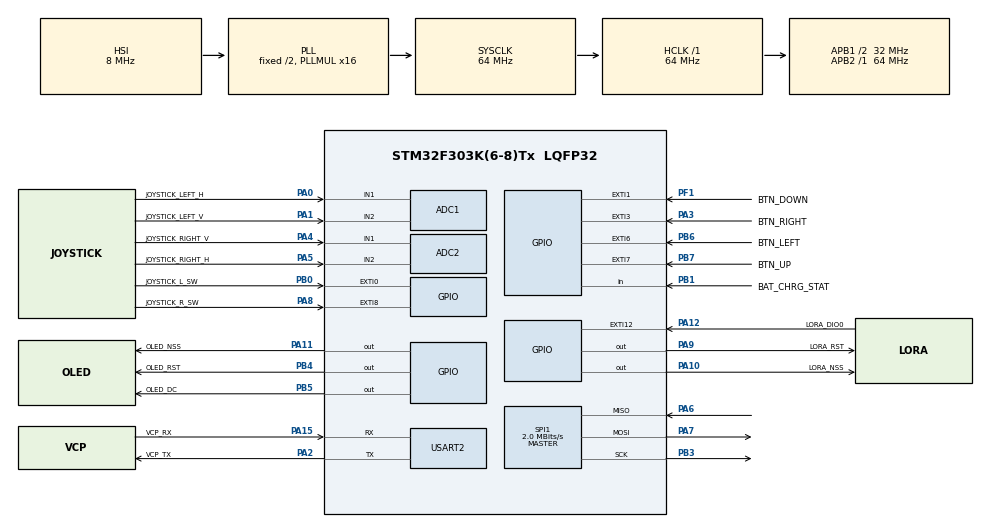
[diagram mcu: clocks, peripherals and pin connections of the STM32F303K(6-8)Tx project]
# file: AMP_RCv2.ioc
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ADC1.Channel-1\#ChannelRegularConversion=ADC_CHANNEL_1
ADC1.NbrOfConversionFlag=1
ADC1.Offset-1\#ChannelRegularConversion=0
ADC1.OffsetNumber-1\#ChannelRegularConversion=ADC_OFFSET_NONE
ADC1.Rank-1\#ChannelRegularConversion=1
ADC1.SamplingTime-1\#ChannelRegularConversion=ADC_SAMPLETIME_1CYCLE_5
ADC1.SubFamily=STM32F303x8
ADC1.master=1
ADC2.Channel-1\#ChannelRegularConversion=ADC_CHANNEL_2
ADC2.NbrOfConversionFlag=1
ADC2.Offset-1\#ChannelRegularConversion=0
ADC2.OffsetNumber-1\#ChannelRegularConversion=ADC_OFFSET_NONE
ADC2.Rank-1\#ChannelRegularConversion=1
ADC2.SamplingTime-1\#ChannelRegularConversion=ADC_SAMPLETIME_1CYCLE_5
ADC2.SubFamily=STM32F303x8
Mcu.Family=STM32F3
Mcu.Name=STM32F303K(6-8)Tx
Mcu.Package=LQFP32
NVIC.EXTI0_IRQn=true\:0\:0\:false\:false\:true\:true\:true\:true
NVIC.EXTI15_10_IRQn=true\:0\:0\:false\:false\:true\:true\:true\:true
NVIC.EXTI1_IRQn=true\:0\:0\:false\:false\:true\:true\:true\:true
NVIC.EXTI3_IRQn=true\:0\:0\:false\:false\:true\:true\:true\:true
NVIC.EXTI9_5_IRQn=true\:0\:0\:false\:true\:true\:1\:true\:true\:true
NVIC.PriorityGroup=NVIC_PRIORITYGROUP_4
NVIC.TIM1_BRK_TIM15_IRQn=true\:0\:0\:false\:false\:true\:true\:true\:true
PA0.GPIO_Label=JOYSTICK_LEFT_H
PA0.Mode=IN1-Single-Ended
PA0.Signal=ADC1_IN1
PA1.GPIO_Label=JOYSTICK_LEFT_V
PA1.Mode=IN2-Single-Ended
PA1.Signal=ADC1_IN2
PA10.GPIO_Label=LORA_NSS
PA10.Signal=GPIO_Output
PA11.GPIO_Label=OLED_NSS
PA11.Signal=GPIO_Output
PA12.GPIO_Label=LORA_DIO0
PA12.Signal=GPXTI12
PA13.GPIO_Label=SWDIO
PA13.Mode=Serial_Wire
PA13.Signal=SYS_JTMS-SWDIO
PA14.GPIO_Label=SWCLK
PA14.Mode=Serial_Wire
PA14.Signal=SYS_JTCK-SWCLK
PA15.GPIO_Label=VCP_RX
PA15.Mode=Asynchronous
PA15.Signal=USART2_RX
PA2.GPIO_Label=VCP_TX
PA2.Mode=Asynchronous
PA2.Signal=USART2_TX
PA3.GPIO_Label=BTN_RIGHT
PA3.GPIO_ModeDefaultEXTI=GPIO_MODE_IT_FALLING
PA3.GPIO_PuPd=GPIO_PULLUP
PA3.Signal=GPXTI3
PA4.GPIO_Label=JOYSTICK_RIGHT_V
PA4.Mode=IN1-Single-Ended
PA4.Signal=ADC2_IN1
PA5.GPIO_Label=JOYSTICK_RIGHT_H
PA5.Mode=IN2-Single-Ended
PA5.Signal=ADC2_IN2
PA6.Mode=Full_Duplex_Master
PA6.Signal=SPI1_MISO
PA7.Mode=Full_Duplex_Master
PA7.Signal=SPI1_MOSI
PA8.GPIO_Label=JOYSTICK_R_SW
PA8.Signal=GPXTI8
PA9.GPIO_Label=LORA_RST
PA9.Signal=GPIO_Output
PB0.GPIO_Label=JOYSTICK_L_SW
PB0.GPIO_ModeDefaultEXTI=GPIO_MODE_IT_RISING
PB0.Signal=GPXTI0
PB1.GPIO_Label=BAT_CHRG_STAT
PB1.Signal=GPIO_Input
PB3.Mode=Full_Duplex_Master
PB3.Signal=SPI1_SCK
PB4.GPIO_Label=OLED_RST
PB4.Signal=GPIO_Output
PB5.GPIO_Label=OLED_DC
PB5.Signal=GPIO_Output
PB6.GPIO_Label=BTN_LEFT
PB6.GPIO_ModeDefaultEXTI=GPIO_MODE_IT_FALLING
PB6.GPIO_PuPd=GPIO_PULLUP
PB6.Signal=GPXTI6
PB7.GPIO_Label=BTN_UP
PB7.GPIO_ModeDefaultEXTI=GPIO_MODE_IT_FALLING
PB7.GPIO_PuPd=GPIO_PULLUP
PB7.Signal=GPXTI7
PF0\ /\ OSC_IN.GPIO_Label=MCO
PF0\ /\ OSC_IN.Mode=HSE-External-Clock-Source
PF0\ /\ OSC_IN.Signal=RCC_OSC_IN
PF1\ /\ OSC_OUT.GPIO_Label=BTN_DOWN
PF1\ /\ OSC_OUT.GPIO_ModeDefaultEXTI=GPIO_MODE_IT_FALLING
PF1\ /\ OSC_OUT.GPIO_PuPd=GPIO_PULLUP
PF1\ /\ OSC_OUT.Signal=GPXTI1
ProjectManager.HeapSize=0x200
ProjectManager.StackSize=0x400
ProjectManager.TargetToolchain=STM32CubeIDE
RCC.AHBFreq_Value=64000000
RCC.APB1CLKDivider=RCC_HCLK_DIV2
RCC.APB1Freq_Value=32000000
RCC.APB1TimFreq_Value=64000000
RCC.APB2Freq_Value=64000000
RCC.APB2TimFreq_Value=64000000
RCC.CortexFreq_Value=64000000
RCC.HCLKFreq_Value=64000000
RCC.HSE_VALUE=8000000
RCC.HSI_VALUE=8000000
RCC.PLLMUL=RCC_PLL_MUL16
RCC.SYSCLKFreq_VALUE=64000000
RCC.SYSCLKSourceVirtual=RCC_SYSCLKSOURCE_PLLCLK
SPI1.BaudRatePrescaler=SPI_BAUDRATEPRESCALER_32
SPI1.CalculateBaudRate=2.0 MBits/s
SPI1.DataSize=SPI_DATASIZE_8BIT
SPI1.Direction=SPI_DIRECTION_2LINES
SPI1.Mode=SPI_MODE_MASTER
SPI1.NSSPMode=SPI_NSS_PULSE_DISABLE
SPI1.VirtualType=VM_MASTER
TIM1.AutoReloadPreload=TIM_AUTORELOAD_PRELOAD_ENABLE
TIM1.Period=999
TIM1.Prescaler=6399
USART2.VirtualMode-Asynchronous=VM_ASYNC
VP_TIM1_VS_ClockSourceINT.Mode=Internal
board=NUCLEO-F303K8

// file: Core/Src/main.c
/* USER CODE BEGIN Header */
/**
  ******************************************************************************
  * @file           : main.c
  * @brief          : Main program body
  ******************************************************************************
  * @attention
  *
  * Copyright (c) 2024 STMicroelectronics.
  * All rights reserved.
  *
  * This software is licensed under terms that can be found in the LICENSE file
  * in the root directory of this software component.
  * If no LICENSE file comes with this software, it is provided AS-IS.
  *
  ******************************************************************************
  */
/* USER CODE END Header */
#include "main.h"
#include "adc.h"
#include "spi.h"
#include "tim.h"
#include "usart.h"
#include "gpio.h"

/* USER CODE BEGIN Includes */
#include "app_statemachine.h"
/* USER CODE END Includes */

/* USER CODE BEGIN PTD */
#define BUTTON_SLOW_PIN BTN_LEFT_Pin // PB7
#define BUTTON_EBRAKE_PIN BTN_RIGHT_Pin // PA3
#define BUTTON_FAST_PIN BTN_UP_Pin //PF1
/* USER CODE END PTD */

/* USER CODE BEGIN PV */
uint32_t joystick_x;
uint32_t joystick_y;
/* USER CODE END PV */

void SystemClock_Config(void);
static void MX_NVIC_Init(void);

int main(void)
{

  /* MCU Configuration--------------------------------------------------------*/

  /* Reset of all peripherals, Initializes the Flash interface and the Systick. */
  HAL_Init();

  /* Configure the system clock */
  SystemClock_Config();

  /* Initialize all configured peripherals */
  MX_GPIO_Init();
  MX_SPI1_Init();
  MX_ADC1_Init();
  MX_ADC2_Init();
  MX_TIM1_Init();
  MX_USART2_UART_Init();

  /* Initialize interrupts */
  MX_NVIC_Init();
  /* USER CODE BEGIN 2 */
  // disable timer interrupt for tick() to make sure init() function completes
  HAL_TIM_Base_Stop_IT(&htim1);
  // call init() function for state machine
  App_StateMachine_Init();
  // re-enable timer interrupt for tick()
  HAL_TIM_Base_Start_IT(&htim1);

  /* USER CODE END 2 */

  /* Infinite loop */
  while (1)
  {

  }
}

void SystemClock_Config(void)
{
  RCC_OscInitTypeDef RCC_OscInitStruct = {0};
  RCC_ClkInitTypeDef RCC_ClkInitStruct = {0};
  RCC_PeriphCLKInitTypeDef PeriphClkInit = {0};

  /** Initializes the RCC Oscillators according to the specified parameters
  * in the RCC_OscInitTypeDef structure.
  */
  RCC_OscInitStruct.OscillatorType = RCC_OSCILLATORTYPE_HSI;
  RCC_OscInitStruct.HSIState = RCC_HSI_ON;
  RCC_OscInitStruct.HSICalibrationValue = RCC_HSICALIBRATION_DEFAULT;
  RCC_OscInitStruct.PLL.PLLState = RCC_PLL_ON;
  RCC_OscInitStruct.PLL.PLLSource = RCC_PLLSOURCE_HSI;
  RCC_OscInitStruct.PLL.PLLMUL = RCC_PLL_MUL16;
  if (HAL_RCC_OscConfig(&RCC_OscInitStruct) != HAL_OK)
  {
    Error_Handler();
  }

  /** Initializes the CPU, AHB and APB buses clocks
  */
  RCC_ClkInitStruct.ClockType = RCC_CLOCKTYPE_HCLK|RCC_CLOCKTYPE_SYSCLK
                              |RCC_CLOCKTYPE_PCLK1|RCC_CLOCKTYPE_PCLK2;
  RCC_ClkInitStruct.SYSCLKSource = RCC_SYSCLKSOURCE_PLLCLK;
  RCC_ClkInitStruct.AHBCLKDivider = RCC_SYSCLK_DIV1;
  RCC_ClkInitStruct.APB1CLKDivider = RCC_HCLK_DIV2;
  RCC_ClkInitStruct.APB2CLKDivider = RCC_HCLK_DIV1;

  if (HAL_RCC_ClockConfig(&RCC_ClkInitStruct, FLASH_LATENCY_2) != HAL_OK)
  {
    Error_Handler();
  }
  PeriphClkInit.PeriphClockSelection = RCC_PERIPHCLK_TIM1|RCC_PERIPHCLK_ADC12;
  PeriphClkInit.Adc12ClockSelection = RCC_ADC12PLLCLK_DIV1;
  PeriphClkInit.Tim1ClockSelection = RCC_TIM1CLK_HCLK;
  if (HAL_RCCEx_PeriphCLKConfig(&PeriphClkInit) != HAL_OK)
  {
    Error_Handler();
  }
}

/**
  * @brief NVIC Configuration.
  * @retval None
  */
static void MX_NVIC_Init(void)
{
  /* EXTI9_5_IRQn interrupt configuration */
  HAL_NVIC_SetPriority(EXTI9_5_IRQn, 0, 0);
  HAL_NVIC_EnableIRQ(EXTI9_5_IRQn);
}

/* USER CODE BEGIN 4 */
void HAL_TIM_PeriodElapsedCallback(TIM_HandleTypeDef *htim) {
    if (htim->Instance == TIM1) { // Check if the interrupt is from TIM1

        // Start ADC conversion for X-axis
        HAL_ADC_Start(&hadc1); // Start ADC for X-axis
        HAL_ADC_PollForConversion(&hadc1, HAL_MAX_DELAY); // Wait for conversion to complete
        joystick_x = HAL_ADC_GetValue(&hadc1); // Read the ADC value for X-axis

        // Start ADC conversion for Y-axis
        HAL_ADC_Start(&hadc2); // Start ADC for Y-axis
        HAL_ADC_PollForConversion(&hadc2, HAL_MAX_DELAY); // Wait for conversion to complete
        joystick_y = HAL_ADC_GetValue(&hadc2); // Read the ADC value for Y-axis

        // Process joystick values (e.g., update thrust and steering)

        // Optional: send joystick values via LoRa or process them further
        Controller_setting(joystick_x, joystick_y);
    }
}

void HAL_GPIO_EXTI_Callback(uint16_t GPIO_Pin)
{
  /* Prevent unused argument(s) compilation warning */
  switch (GPIO_Pin) {
          case BUTTON_SLOW_PIN: // Replace with your actual button pin
        	  App_StateMachine_ChangeState(STATE_SLOW);
              break;

          case BUTTON_FAST_PIN: // Replace with your actual button pin
        	  App_StateMachine_ChangeState(STATE_FAST);
              break;

          case BUTTON_EBRAKE_PIN: // Replace with your actual button pin
        	  App_StateMachine_ChangeState(STATE_EBRAKE);
              break;

          default:
        	  //App_StateMachine_ChangeState(STATE_ERROR); // Handle unknown state
               break;
  /* NOTE: This function should not be modified, when the callback is needed,
           the HAL_GPIO_EXTI_Callback could be implemented in the user file
   */
  	  	  }
}
/* USER CODE END 4 */

void Error_Handler(void)
{
  __disable_irq();
  while (1)
  {
  }
}
